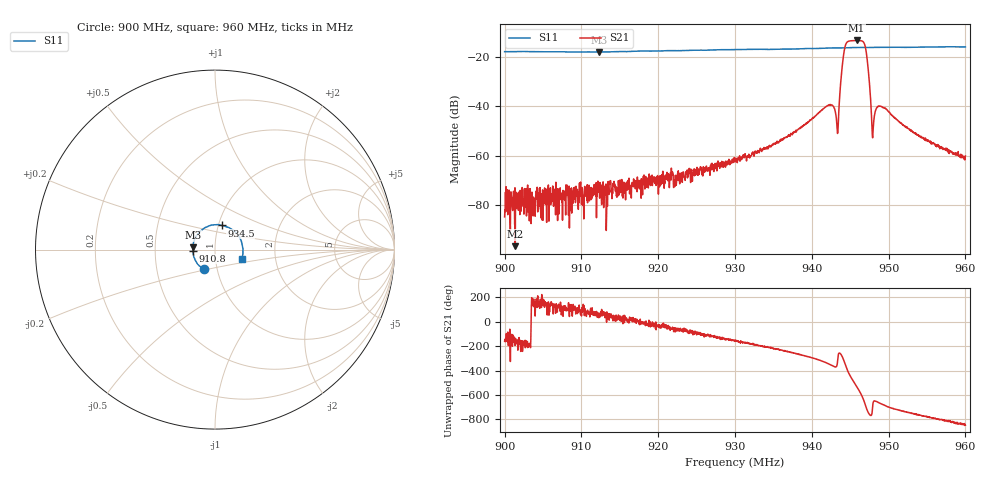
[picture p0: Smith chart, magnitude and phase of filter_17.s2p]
!Agilent Technologies,E5071C,MY46214392,A.11.36
!Date: Thu Feb 26 21:47:15 2026
!Data & Calibration Information:
!Freq	S11:NONE(--)	S21:NONE(--)	S12:NONE(--)	S22:NONE(--)
!PortZ  Port1:50+j0  Port2:50+j0
!Above PortZ is port z conversion or system Z0 setting when saving the data.
!When reading, reference impedance value at option line is always used.
# Hz S dB R 50
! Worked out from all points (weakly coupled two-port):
!   1601 points, 900 MHz to 960 MHz, reference 50 ohm
!   highest |S21| = -13.50 dB at 945.8 MHz (marker M1); lowest = -96.6 dB at 901.4 MHz (marker M2)
!   lowest |S11| = -18.2 dB at 912.3 MHz (marker M3), VSWR 1.28, Z = 39.1 + j0.934 ohm
!   |S11| at or under -10 dB: start of sweep to end of sweep
!   S12 and S22 are empty: the file has one direction only
!   S11 on the Smith chart (normalised r, x): 900 MHz: 0.86, -0.19; 910.8 MHz: 0.78, -0.01; 934.5 MHz: 1.04, +0.28; 960 MHz: 1.34, -0.14
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9e8  -18.03 -119.9  -84.77 -158.9  -200.00 0.0  -200.00 0.0
9.013875e8  -18.02 -127.2  -96.59 171.9  -200.00 0.0  -200.00 0.0
9.100125e8  -18.17 -173.6  -79.78 47.7  -200.00 0.0  -200.00 0.0
9.107625e8  -18.13 -177.4  -71.78 78.5  -200.00 0.0  -200.00 0.0
9.123375e8  -18.19 174.5  -71.35 50.8  -200.00 0.0  -200.00 0.0
9.20025e8  -17.76 137.0  -75.57 -23.0  -200.00 0.0  -200.00 0.0
9.3e8  -17.20 92.8  -62.58 -160.0  -200.00 0.0  -200.00 0.0
9.344625e8  -17.12 74.8  -56.28 150.1  -200.00 0.0  -200.00 0.0
9.400125e8  -16.76 54.9  -45.13 65.6  -200.00 0.0  -200.00 0.0
9.42375e8  -16.54 46.6  -39.34 10.2  -200.00 0.0  -200.00 0.0
9.43275e8  -16.51 43.0  -47.84 3.1  -200.00 0.0  -200.00 0.0
9.435e8  -16.51 42.1  -43.07 100.8  -200.00 0.0  -200.00 0.0
9.443625e8  -16.51 39.3  -15.65 8.6  -200.00 0.0  -200.00 0.0
9.450375e8  -16.40 36.8  -13.66 -87.2  -200.00 0.0  -200.00 0.0
9.45825e8  -16.35 33.7  -13.50 -168.0  -200.00 0.0  -200.00 0.0
9.465e8  -16.32 31.0  -13.69 116.7  -200.00 0.0  -200.00 0.0
9.469875e8  -16.34 29.0  -16.39 36.2  -200.00 0.0  -200.00 0.0
9.479625e8  -16.31 25.6  -50.51 49.9  -200.00 0.0  -200.00 0.0
9.487125e8  -16.28 22.8  -40.10 57.9  -200.00 0.0  -200.00 0.0
9.50025e8  -16.25 18.0  -42.45 20.8  -200.00 0.0  -200.00 0.0
9.54e8  -16.19 4.1  -52.09 -45.3  -200.00 0.0  -200.00 0.0
9.6e8  -16.11 -19.1  -60.17 -126.7  -200.00 0.0  -200.00 0.0
